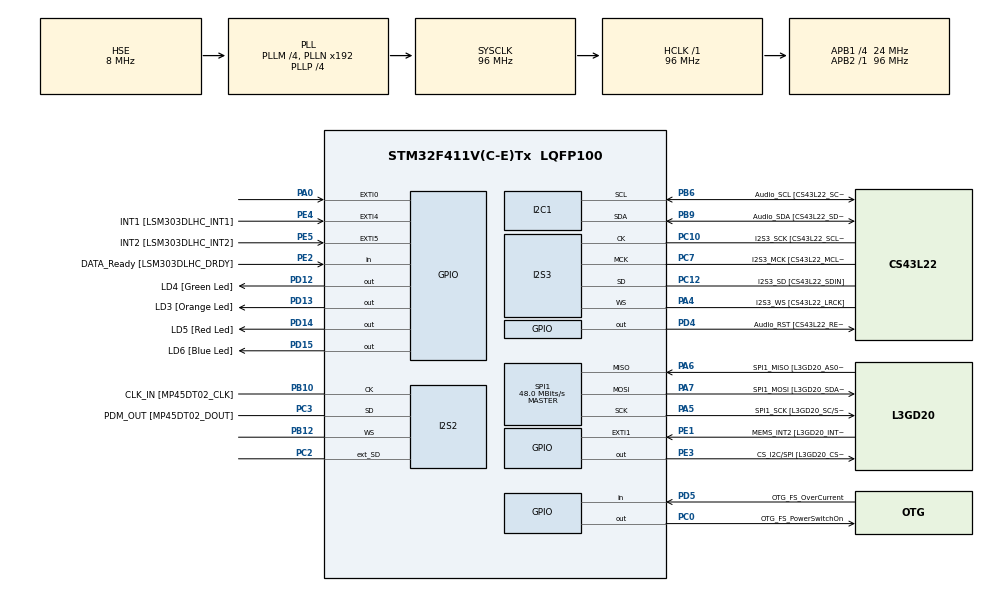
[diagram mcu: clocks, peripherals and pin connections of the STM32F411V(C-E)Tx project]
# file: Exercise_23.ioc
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FREERTOS.Tasks01=OrangeTask,0,128,StartOrangeTask,Default,NULL,Dynamic,NULL,NULL;GreenTask,0,128,StartGreenTask,Default,NULL,Dynamic,NULL,NULL;DeferredServerT,-1,128,StartDeferredServerTask,Default,NULL,Dynamic,NULL,NULL
I2S2.AudioFreq=I2S_AUDIOFREQ_96K
I2S2.ErrorAudioFreq=0.15 %
I2S2.FullDuplexMode=I2S_FULLDUPLEXMODE_ENABLE
I2S2.Instance=SPI$Index
I2S2.RealAudioFreq=96.153 KHz
I2S2.VirtualMode=I2S_MODE_MASTER
I2S3.AudioFreq=I2S_AUDIOFREQ_96K
I2S3.ErrorAudioFreq=-6.99 %
I2S3.FullDuplexMode=I2S_FULLDUPLEXMODE_DISABLE
I2S3.Instance=SPI$Index
I2S3.RealAudioFreq=89.285 KHz
I2S3.VirtualMode=I2S_MODE_MASTER
Mcu.Family=STM32F4
Mcu.Name=STM32F411V(C-E)Tx
Mcu.Package=LQFP100
NVIC.EXTI0_IRQn=true\:0\:0\:false\:false\:true\:false\:true\:true
NVIC.PriorityGroup=NVIC_PRIORITYGROUP_4
NVIC.TIM1_UP_TIM10_IRQn=true\:0\:0\:false\:false\:true\:false\:false\:true
NVIC.TimeBase=TIM1_UP_TIM10_IRQn
NVIC.TimeBaseIP=TIM1
PA0-WKUP.Signal=GPXTI0
PA10.GPIO_Label=OTG_FS_ID
PA10.Signal=USB_OTG_FS_ID
PA11.GPIO_Label=OTG_FS_DM
PA11.Signal=USB_OTG_FS_DM
PA12.GPIO_Label=OTG_FS_DP
PA12.Signal=USB_OTG_FS_DP
PA13.GPIO_Label=SWDIO
PA13.Mode=Serial_Wire
PA13.Signal=SYS_JTMS-SWDIO
PA14.GPIO_Label=SWCLK
PA14.Mode=Serial_Wire
PA14.Signal=SYS_JTCK-SWCLK
PA4.GPIO_Label=I2S3_WS [CS43L22_LRCK]
PA4.GPIO_Mode=GPIO_MODE_AF_PP
PA4.GPIO_PuPd=GPIO_NOPULL
PA4.GPIO_Speed=GPIO_SPEED_FREQ_LOW
PA4.Mode=Half_Duplex_Master
PA4.Signal=I2S3_WS
PA5.GPIO_Label=SPI1_SCK [L3GD20_SC/SPC]
PA5.Mode=Full_Duplex_Master
PA5.Signal=SPI1_SCK
PA6.GPIO_Label=SPI1_MISO [L3GD20_AS0/SDO]
PA6.Mode=Full_Duplex_Master
PA6.Signal=SPI1_MISO
PA7.GPIO_Label=SPI1_MOSI [L3GD20_SDA/SDI/SDO]
PA7.Mode=Full_Duplex_Master
PA7.Signal=SPI1_MOSI
PA9.GPIO_Label=VBUS_FS
PA9.Signal=USB_OTG_FS_VBUS
PB10.GPIO_Label=CLK_IN [MP45DT02_CLK]
PB10.Mode=Full_Duplex_Master
PB10.Signal=I2S2_CK
PB12.Mode=Full_Duplex_Master
PB12.Signal=I2S2_WS
PB3.GPIO_Label=SWO
PB3.Signal=SYS_JTDO-SWO
PB6.GPIO_Label=Audio_SCL [CS43L22_SCL]
PB6.GPIO_Mode=GPIO_MODE_AF_OD
PB6.GPIO_PuPd=GPIO_NOPULL
PB6.GPIO_Speed=GPIO_SPEED_FREQ_LOW
PB6.Mode=I2C
PB6.Signal=I2C1_SCL
PB9.GPIO_Label=Audio_SDA [CS43L22_SDA]
PB9.GPIO_Mode=GPIO_MODE_AF_OD
PB9.GPIO_PuPd=GPIO_NOPULL
PB9.GPIO_Speed=GPIO_SPEED_FREQ_LOW
PB9.Mode=I2C
PB9.Signal=I2C1_SDA
PC0.GPIO_Label=OTG_FS_PowerSwitchOn
PC0.PinState=GPIO_PIN_SET
PC0.Signal=GPIO_Output
PC10.GPIO_Label=I2S3_SCK [CS43L22_SCLK]
PC10.GPIO_Mode=GPIO_MODE_AF_PP
PC10.GPIO_PuPd=GPIO_NOPULL
PC10.GPIO_Speed=GPIO_SPEED_FREQ_LOW
PC10.Mode=Half_Duplex_Master
PC10.Signal=I2S3_CK
PC12.GPIO_Label=I2S3_SD [CS43L22_SDIN]
PC12.GPIO_Mode=GPIO_MODE_AF_PP
PC12.GPIO_PuPd=GPIO_NOPULL
PC12.GPIO_Speed=GPIO_SPEED_FREQ_LOW
PC12.Mode=Half_Duplex_Master
PC12.Signal=I2S3_SD
PC14-OSC32_IN.GPIO_Label=PC14-OSC32_IN
PC14-OSC32_IN.Mode=LSE-External-Oscillator
PC14-OSC32_IN.Signal=RCC_OSC32_IN
PC15-OSC32_OUT.GPIO_Label=PC15-OSC32_OUT
PC15-OSC32_OUT.Mode=LSE-External-Oscillator
PC15-OSC32_OUT.Signal=RCC_OSC32_OUT
PC2.Mode=Full_Duplex_Master
PC2.Signal=I2S2_ext_SD
PC3.GPIO_Label=PDM_OUT [MP45DT02_DOUT]
PC3.Mode=Full_Duplex_Master
PC3.Signal=I2S2_SD
PC7.GPIO_Label=I2S3_MCK [CS43L22_MCLK]
PC7.GPIO_Mode=GPIO_MODE_AF_PP
PC7.GPIO_PuPd=GPIO_NOPULL
PC7.GPIO_Speed=GPIO_SPEED_FREQ_LOW
PC7.Mode=Master_Clock_Activated
PC7.Signal=I2S3_MCK
PD12.GPIO_Label=LD4 [Green Led]
PD12.GPIO_PuPd=GPIO_NOPULL
PD12.GPIO_Speed=GPIO_SPEED_FREQ_LOW
PD12.Signal=GPIO_Output
PD13.GPIO_Label=LD3 [Orange Led]
PD13.GPIO_PuPd=GPIO_NOPULL
PD13.GPIO_Speed=GPIO_SPEED_FREQ_LOW
PD13.Signal=GPIO_Output
PD14.GPIO_Label=LD5 [Red Led]
PD14.GPIO_PuPd=GPIO_NOPULL
PD14.GPIO_Speed=GPIO_SPEED_FREQ_LOW
PD14.Signal=GPIO_Output
PD15.GPIO_Label=LD6 [Blue Led]
PD15.GPIO_PuPd=GPIO_NOPULL
PD15.GPIO_Speed=GPIO_SPEED_FREQ_LOW
PD15.Signal=GPIO_Output
PD4.GPIO_Label=Audio_RST [CS43L22_RESET]
PD4.Signal=GPIO_Output
PD5.GPIO_Label=OTG_FS_OverCurrent
PD5.Signal=GPIO_Input
PE1.GPIO_Label=MEMS_INT2 [L3GD20_INT2]
PE1.GPIO_ModeDefaultEXTI=GPIO_MODE_EVT_RISING
PE1.Signal=GPXTI1
PE2.GPIO_Label=DATA_Ready [LSM303DLHC_DRDY]
PE2.Signal=GPIO_Input
PE3.GPIO_Label=CS_I2C/SPI [L3GD20_CS_I2C/SPI]
PE3.Signal=GPIO_Output
PE4.GPIO_Label=INT1 [LSM303DLHC_INT1]
PE4.GPIO_ModeDefaultEXTI=GPIO_MODE_EVT_RISING
PE4.Signal=GPXTI4
PE5.GPIO_Label=INT2 [LSM303DLHC_INT2]
PE5.GPIO_ModeDefaultEXTI=GPIO_MODE_EVT_RISING
PE5.Signal=GPXTI5
PH0\ -\ OSC_IN.GPIO_Label=PH0-OSC_IN
PH0\ -\ OSC_IN.Mode=HSE-External-Clock-Source
PH0\ -\ OSC_IN.Signal=RCC_OSC_IN
PH1\ -\ OSC_OUT.GPIO_Label=PH1-OSC_OUT
PH1\ -\ OSC_OUT.Mode=HSE-External-Clock-Source
PH1\ -\ OSC_OUT.Signal=RCC_OSC_OUT
ProjectManager.HeapSize=0x200
ProjectManager.StackSize=0x400
ProjectManager.TargetToolchain=STM32CubeIDE
RCC.48MHZClocksFreq_Value=48000000
RCC.AHBFreq_Value=96000000
RCC.APB1CLKDivider=RCC_HCLK_DIV4
RCC.APB1Freq_Value=24000000
RCC.APB1TimFreq_Value=48000000
RCC.APB2Freq_Value=96000000
RCC.APB2TimFreq_Value=96000000
RCC.CortexFreq_Value=96000000
RCC.HCLKFreq_Value=96000000
RCC.HSE_VALUE=8000000
RCC.HSI_VALUE=16000000
RCC.PLLI2SM=5
RCC.PLLI2SN=200
RCC.PLLM=4
RCC.PLLP=RCC_PLLP_DIV4
RCC.PLLQ=8
RCC.PLLSourceVirtual=RCC_PLLSOURCE_HSE
RCC.SYSCLKFreq_VALUE=96000000
RCC.SYSCLKSource=RCC_SYSCLKSOURCE_PLLCLK
RCC.VCOOutputFreq_Value=384000000
SPI1.BaudRatePrescaler=SPI_BAUDRATEPRESCALER_2
SPI1.CalculateBaudRate=48.0 MBits/s
SPI1.Direction=SPI_DIRECTION_2LINES
SPI1.Mode=SPI_MODE_MASTER
SPI1.VirtualType=VM_MASTER
VP_FREERTOS_VS_CMSIS_V1.Mode=CMSIS_V1
VP_SYS_VS_tim1.Mode=TIM1
board=STM32F411E-DISCO

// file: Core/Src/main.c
/* USER CODE BEGIN Header */
/**
  ******************************************************************************
  * @file           : main.c
  * @brief          : Main program body
  ******************************************************************************
  * @attention
  *
  * <h2><center>&copy; Copyright (c) 2023 STMicroelectronics.
  * All rights reserved.</center></h2>
  *
  * This software component is licensed by ST under Ultimate Liberty license
  * SLA0044, the "License"; You may not use this file except in compliance with
  * the License. You may obtain a copy of the License at:
  *                             www.st.com/SLA0044
  *
  ******************************************************************************
  */
/* USER CODE END Header */

#include "main.h"
#include "cmsis_os.h"
#include "SyncSema.h"

/* USER CODE BEGIN PD */
#define green GPIO_PIN_12
#define orange GPIO_PIN_13
#define red GPIO_PIN_14
#define blue GPIO_PIN_15
/* USER CODE END PD */

I2C_HandleTypeDef hi2c1;

I2S_HandleTypeDef hi2s2;
I2S_HandleTypeDef hi2s3;

SPI_HandleTypeDef hspi1;

osThreadId OrangeTaskHandle;
osThreadId GreenTaskHandle;
osThreadId DeferredServerTHandle;

void SystemClock_Config(void);
static void MX_GPIO_Init(void);
static void MX_I2C1_Init(void);
static void MX_I2S2_Init(void);
static void MX_I2S3_Init(void);
static void MX_SPI1_Init(void);
void StartOrangeTask(void const * argument);
void StartGreenTask(void const * argument);
void StartDeferredServerTask(void const * argument);

int main(void)
{
  /* USER CODE BEGIN 1 */
InitSema();
  /* USER CODE END 1 */

  /* MCU Configuration--------------------------------------------------------*/

  /* Reset of all peripherals, Initializes the Flash interface and the Systick. */
  HAL_Init();

  /* Configure the system clock */
  SystemClock_Config();

  /* Initialize all configured peripherals */
  MX_GPIO_Init();
  MX_I2C1_Init();
  MX_I2S2_Init();
  MX_I2S3_Init();
  MX_SPI1_Init();

  /* Create the thread(s) */
  /* definition and creation of OrangeTask */
  osThreadDef(OrangeTask, StartOrangeTask, osPriorityNormal, 0, 128);
  OrangeTaskHandle = osThreadCreate(osThread(OrangeTask), NULL);

  /* definition and creation of GreenTask */
  osThreadDef(GreenTask, StartGreenTask, osPriorityNormal, 0, 128);
  GreenTaskHandle = osThreadCreate(osThread(GreenTask), NULL);

  /* definition and creation of DeferredServerT */
  osThreadDef(DeferredServerT, StartDeferredServerTask, osPriorityBelowNormal, 0, 128);
  DeferredServerTHandle = osThreadCreate(osThread(DeferredServerT), NULL);

  /* Start scheduler */
  osKernelStart();

  /* We should never get here as control is now taken by the scheduler */

  /* Infinite loop */
  while (1)
  {

  }
}

void SystemClock_Config(void)
{
  RCC_OscInitTypeDef RCC_OscInitStruct = {0};
  RCC_ClkInitTypeDef RCC_ClkInitStruct = {0};
  RCC_PeriphCLKInitTypeDef PeriphClkInitStruct = {0};

  /** Configure the main internal regulator output voltage
  */
  __HAL_RCC_PWR_CLK_ENABLE();
  __HAL_PWR_VOLTAGESCALING_CONFIG(PWR_REGULATOR_VOLTAGE_SCALE1);
  /** Initializes the CPU, AHB and APB busses clocks
  */
  RCC_OscInitStruct.OscillatorType = RCC_OSCILLATORTYPE_HSE;
  RCC_OscInitStruct.HSEState = RCC_HSE_BYPASS;
  RCC_OscInitStruct.PLL.PLLState = RCC_PLL_ON;
  RCC_OscInitStruct.PLL.PLLSource = RCC_PLLSOURCE_HSE;
  RCC_OscInitStruct.PLL.PLLM = 4;
  RCC_OscInitStruct.PLL.PLLN = 192;
  RCC_OscInitStruct.PLL.PLLP = RCC_PLLP_DIV4;
  RCC_OscInitStruct.PLL.PLLQ = 8;
  if (HAL_RCC_OscConfig(&RCC_OscInitStruct) != HAL_OK)
  {
    Error_Handler();
  }
  /** Initializes the CPU, AHB and APB busses clocks
  */
  RCC_ClkInitStruct.ClockType = RCC_CLOCKTYPE_HCLK|RCC_CLOCKTYPE_SYSCLK
                              |RCC_CLOCKTYPE_PCLK1|RCC_CLOCKTYPE_PCLK2;
  RCC_ClkInitStruct.SYSCLKSource = RCC_SYSCLKSOURCE_PLLCLK;
  RCC_ClkInitStruct.AHBCLKDivider = RCC_SYSCLK_DIV1;
  RCC_ClkInitStruct.APB1CLKDivider = RCC_HCLK_DIV4;
  RCC_ClkInitStruct.APB2CLKDivider = RCC_HCLK_DIV1;

  if (HAL_RCC_ClockConfig(&RCC_ClkInitStruct, FLASH_LATENCY_3) != HAL_OK)
  {
    Error_Handler();
  }
  PeriphClkInitStruct.PeriphClockSelection = RCC_PERIPHCLK_I2S;
  PeriphClkInitStruct.PLLI2S.PLLI2SN = 200;
  PeriphClkInitStruct.PLLI2S.PLLI2SM = 5;
  PeriphClkInitStruct.PLLI2S.PLLI2SR = 2;
  if (HAL_RCCEx_PeriphCLKConfig(&PeriphClkInitStruct) != HAL_OK)
  {
    Error_Handler();
  }
}

static void MX_I2C1_Init(void)
{

  hi2c1.Instance = I2C1;
  hi2c1.Init.ClockSpeed = 100000;
  hi2c1.Init.DutyCycle = I2C_DUTYCYCLE_2;
  hi2c1.Init.OwnAddress1 = 0;
  hi2c1.Init.AddressingMode = I2C_ADDRESSINGMODE_7BIT;
  hi2c1.Init.DualAddressMode = I2C_DUALADDRESS_DISABLE;
  hi2c1.Init.OwnAddress2 = 0;
  hi2c1.Init.GeneralCallMode = I2C_GENERALCALL_DISABLE;
  hi2c1.Init.NoStretchMode = I2C_NOSTRETCH_DISABLE;
  if (HAL_I2C_Init(&hi2c1) != HAL_OK)
  {
    Error_Handler();
  }

}

static void MX_I2S2_Init(void)
{

  hi2s2.Instance = SPI2;
  hi2s2.Init.Mode = I2S_MODE_MASTER_TX;
  hi2s2.Init.Standard = I2S_STANDARD_PHILIPS;
  hi2s2.Init.DataFormat = I2S_DATAFORMAT_16B;
  hi2s2.Init.MCLKOutput = I2S_MCLKOUTPUT_DISABLE;
  hi2s2.Init.AudioFreq = I2S_AUDIOFREQ_96K;
  hi2s2.Init.CPOL = I2S_CPOL_LOW;
  hi2s2.Init.ClockSource = I2S_CLOCK_PLL;
  hi2s2.Init.FullDuplexMode = I2S_FULLDUPLEXMODE_ENABLE;
  if (HAL_I2S_Init(&hi2s2) != HAL_OK)
  {
    Error_Handler();
  }

}

static void MX_I2S3_Init(void)
{

  hi2s3.Instance = SPI3;
  hi2s3.Init.Mode = I2S_MODE_MASTER_TX;
  hi2s3.Init.Standard = I2S_STANDARD_PHILIPS;
  hi2s3.Init.DataFormat = I2S_DATAFORMAT_16B;
  hi2s3.Init.MCLKOutput = I2S_MCLKOUTPUT_ENABLE;
  hi2s3.Init.AudioFreq = I2S_AUDIOFREQ_96K;
  hi2s3.Init.CPOL = I2S_CPOL_LOW;
  hi2s3.Init.ClockSource = I2S_CLOCK_PLL;
  hi2s3.Init.FullDuplexMode = I2S_FULLDUPLEXMODE_DISABLE;
  if (HAL_I2S_Init(&hi2s3) != HAL_OK)
  {
    Error_Handler();
  }

}

static void MX_SPI1_Init(void)
{

  /* SPI1 parameter configuration*/
  hspi1.Instance = SPI1;
  hspi1.Init.Mode = SPI_MODE_MASTER;
  hspi1.Init.Direction = SPI_DIRECTION_2LINES;
  hspi1.Init.DataSize = SPI_DATASIZE_8BIT;
  hspi1.Init.CLKPolarity = SPI_POLARITY_LOW;
  hspi1.Init.CLKPhase = SPI_PHASE_1EDGE;
  hspi1.Init.NSS = SPI_NSS_SOFT;
  hspi1.Init.BaudRatePrescaler = SPI_BAUDRATEPRESCALER_2;
  hspi1.Init.FirstBit = SPI_FIRSTBIT_MSB;
  hspi1.Init.TIMode = SPI_TIMODE_DISABLE;
  hspi1.Init.CRCCalculation = SPI_CRCCALCULATION_DISABLE;
  hspi1.Init.CRCPolynomial = 10;
  if (HAL_SPI_Init(&hspi1) != HAL_OK)
  {
    Error_Handler();
  }

}

static void MX_GPIO_Init(void)
{
  GPIO_InitTypeDef GPIO_InitStruct = {0};

  /* GPIO Ports Clock Enable */
  __HAL_RCC_GPIOE_CLK_ENABLE();
  __HAL_RCC_GPIOC_CLK_ENABLE();
  __HAL_RCC_GPIOH_CLK_ENABLE();
  __HAL_RCC_GPIOA_CLK_ENABLE();
  __HAL_RCC_GPIOB_CLK_ENABLE();
  __HAL_RCC_GPIOD_CLK_ENABLE();

  /*Configure GPIO pin Output Level */
  HAL_GPIO_WritePin(CS_I2C_SPI_GPIO_Port, CS_I2C_SPI_Pin, GPIO_PIN_RESET);

  /*Configure GPIO pin Output Level */
  HAL_GPIO_WritePin(OTG_FS_PowerSwitchOn_GPIO_Port, OTG_FS_PowerSwitchOn_Pin, GPIO_PIN_SET);

  /*Configure GPIO pin Output Level */
  HAL_GPIO_WritePin(GPIOD, LD4_Pin|LD3_Pin|LD5_Pin|LD6_Pin
                          |Audio_RST_Pin, GPIO_PIN_RESET);

  /*Configure GPIO pin : DATA_Ready_Pin */
  GPIO_InitStruct.Pin = DATA_Ready_Pin;
  GPIO_InitStruct.Mode = GPIO_MODE_INPUT;
  GPIO_InitStruct.Pull = GPIO_NOPULL;
  HAL_GPIO_Init(DATA_Ready_GPIO_Port, &GPIO_InitStruct);

  /*Configure GPIO pin : CS_I2C_SPI_Pin */
  GPIO_InitStruct.Pin = CS_I2C_SPI_Pin;
  GPIO_InitStruct.Mode = GPIO_MODE_OUTPUT_PP;
  GPIO_InitStruct.Pull = GPIO_NOPULL;
  GPIO_InitStruct.Speed = GPIO_SPEED_FREQ_LOW;
  HAL_GPIO_Init(CS_I2C_SPI_GPIO_Port, &GPIO_InitStruct);

  /*Configure GPIO pins : INT1_Pin INT2_Pin MEMS_INT2_Pin */
  GPIO_InitStruct.Pin = INT1_Pin|INT2_Pin|MEMS_INT2_Pin;
  GPIO_InitStruct.Mode = GPIO_MODE_EVT_RISING;
  GPIO_InitStruct.Pull = GPIO_NOPULL;
  HAL_GPIO_Init(GPIOE, &GPIO_InitStruct);

  /*Configure GPIO pin : OTG_FS_PowerSwitchOn_Pin */
  GPIO_InitStruct.Pin = OTG_FS_PowerSwitchOn_Pin;
  GPIO_InitStruct.Mode = GPIO_MODE_OUTPUT_PP;
  GPIO_InitStruct.Pull = GPIO_NOPULL;
  GPIO_InitStruct.Speed = GPIO_SPEED_FREQ_LOW;
  HAL_GPIO_Init(OTG_FS_PowerSwitchOn_GPIO_Port, &GPIO_InitStruct);

  /*Configure GPIO pin : PA0 */
  GPIO_InitStruct.Pin = GPIO_PIN_0;
  GPIO_InitStruct.Mode = GPIO_MODE_IT_RISING;
  GPIO_InitStruct.Pull = GPIO_NOPULL;
  HAL_GPIO_Init(GPIOA, &GPIO_InitStruct);

  /*Configure GPIO pins : LD4_Pin LD3_Pin LD5_Pin LD6_Pin
                           Audio_RST_Pin */
  GPIO_InitStruct.Pin = LD4_Pin|LD3_Pin|LD5_Pin|LD6_Pin
                          |Audio_RST_Pin;
  GPIO_InitStruct.Mode = GPIO_MODE_OUTPUT_PP;
  GPIO_InitStruct.Pull = GPIO_NOPULL;
  GPIO_InitStruct.Speed = GPIO_SPEED_FREQ_LOW;
  HAL_GPIO_Init(GPIOD, &GPIO_InitStruct);

  /*Configure GPIO pin : VBUS_FS_Pin */
  GPIO_InitStruct.Pin = VBUS_FS_Pin;
  GPIO_InitStruct.Mode = GPIO_MODE_INPUT;
  GPIO_InitStruct.Pull = GPIO_NOPULL;
  HAL_GPIO_Init(VBUS_FS_GPIO_Port, &GPIO_InitStruct);

  /*Configure GPIO pins : OTG_FS_ID_Pin OTG_FS_DM_Pin OTG_FS_DP_Pin */
  GPIO_InitStruct.Pin = OTG_FS_ID_Pin|OTG_FS_DM_Pin|OTG_FS_DP_Pin;
  GPIO_InitStruct.Mode = GPIO_MODE_AF_PP;
  GPIO_InitStruct.Pull = GPIO_NOPULL;
  GPIO_InitStruct.Speed = GPIO_SPEED_FREQ_VERY_HIGH;
  GPIO_InitStruct.Alternate = GPIO_AF10_OTG_FS;
  HAL_GPIO_Init(GPIOA, &GPIO_InitStruct);

  /*Configure GPIO pin : OTG_FS_OverCurrent_Pin */
  GPIO_InitStruct.Pin = OTG_FS_OverCurrent_Pin;
  GPIO_InitStruct.Mode = GPIO_MODE_INPUT;
  GPIO_InitStruct.Pull = GPIO_NOPULL;
  HAL_GPIO_Init(OTG_FS_OverCurrent_GPIO_Port, &GPIO_InitStruct);

  /* EXTI interrupt init*/
  HAL_NVIC_SetPriority(EXTI0_IRQn, 5, 0);
  HAL_NVIC_EnableIRQ(EXTI0_IRQn);

}

void StartOrangeTask(void const * argument)
{
  /* USER CODE BEGIN 5 */
  /* Infinite loop */
  for(;;)
  {
	  HAL_GPIO_WritePin(GPIOD, orange, GPIO_PIN_SET);
	  osDelay(500); // 500 msec
	  HAL_GPIO_WritePin(GPIOD, orange, GPIO_PIN_RESET);
	  osDelay(1500);// 1500 msec
  }
  /* USER CODE END 5 */
}

void StartGreenTask(void const * argument)
{
  /* USER CODE BEGIN StartGreenTask */
  /* Infinite loop */
  osDelay(700); // 700 msec
  for(;;)
  {
	  HAL_GPIO_WritePin(GPIOD, green, GPIO_PIN_SET);
	  osDelay(500); // 500 msec
	  HAL_GPIO_WritePin(GPIOD, green, GPIO_PIN_RESET);
	  osDelay(3500);// 3500 msec
  }
  /* USER CODE END StartGreenTask */
}

void StartDeferredServerTask(void const * argument)
{
  /* USER CODE BEGIN StartDeferredServerTask */
  /* Infinite loop */
  for(;;)
  {
    WaitEFSema();
    for(int i = 0; i < 40; i++)
      {
    	  HAL_GPIO_WritePin(GPIOD, blue,GPIO_PIN_SET);
    	  osDelay(50);
    	  HAL_GPIO_WritePin(GPIOD, blue,GPIO_PIN_RESET);
    	  osDelay(50);
      }
      HAL_GPIO_WritePin(GPIOD, red, GPIO_PIN_RESET);
  }
  /* USER CODE END StartDeferredServerTask */
}

void HAL_TIM_PeriodElapsedCallback(TIM_HandleTypeDef *htim)
{
  if (htim->Instance == TIM1) {
    HAL_IncTick();
  }
}

void Error_Handler(void)
{
}

/************************ (C) COPYRIGHT STMicroelectronics *****END OF FILE****/
